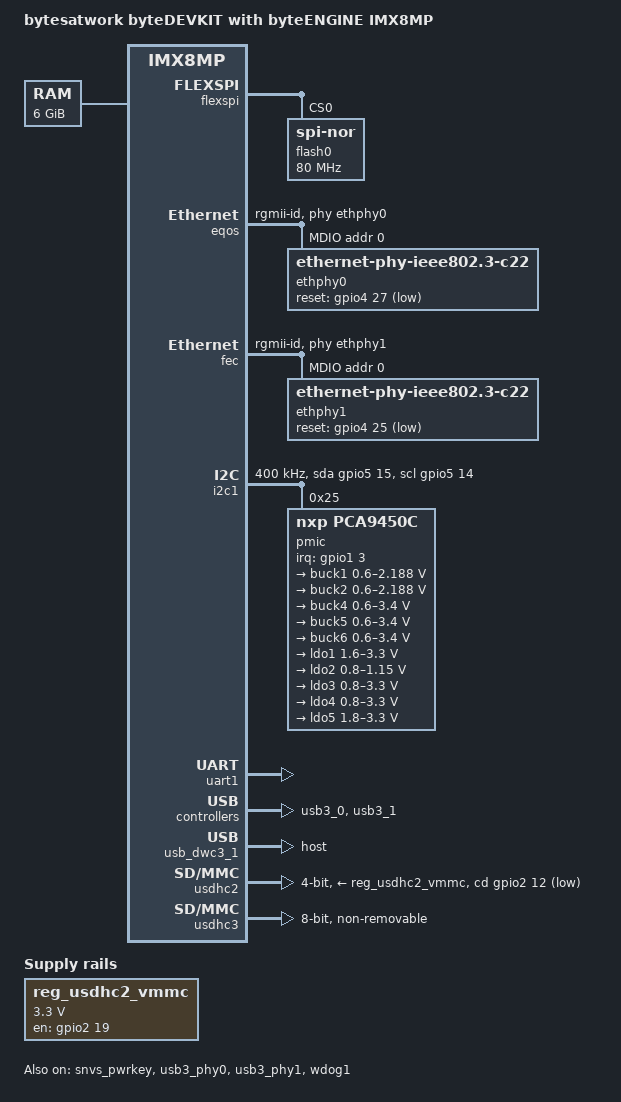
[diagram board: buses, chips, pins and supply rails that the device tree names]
// SPDX-License-Identifier: (GPL-2.0+ OR MIT)
/*
 * Copyright (C) 2024 bytesatwork AG - https://www.bytesatwork.io
 *
 * Based on arch/arm/dts/imx8mp-evk.dts
 * Copyright 2019 NXP
 *
 */

/dts-v1/;

#include <dt-bindings/net/ti-dp83867.h>
#include <dt-bindings/usb/pd.h>
#include "imx8mp.dtsi"

/ {
	model = "bytesatwork byteDEVKIT with byteENGINE IMX8MP";
	compatible = "bytesatwork,bytedevkit-imx8mp", "bytesatwork,byteengine-imx8mp", "fsl,imx8mp";

	chosen {
		bootargs = "console=ttymxc0,115200 earlycon=ec_imx6q,0x30860000,115200";
		stdout-path = &uart1;
	};

	memory@40000000 {
		device_type = "memory";
		reg = <0x0 0x40000000 0 0xc0000000>,
		      <0x1 0x00000000 0 0xc0000000>;
	};

	reg_usdhc2_vmmc: regulator-usdhc2 {
		compatible = "regulator-fixed";
		pinctrl-names = "default";
		pinctrl-0 = <&pinctrl_reg_usdhc2_vmmc>;
		regulator-name = "VSD_3V3";
		regulator-min-microvolt = <3300000>;
		regulator-max-microvolt = <3300000>;
		gpio = <&gpio2 19 GPIO_ACTIVE_HIGH>;
		enable-active-high;
	};
};

&flexspi {
	pinctrl-names = "default";
	pinctrl-0 = <&pinctrl_flexspi0>;
	status = "okay";

	flash0: flash@0 {
		reg = <0>;
		#address-cells = <1>;
		#size-cells = <1>;
		compatible = "jedec,spi-nor";
		spi-max-frequency = <80000000>;
		spi-tx-bus-width = <1>;
		spi-rx-bus-width = <4>;
	};
};

&A53_0 {
	cpu-supply = <&buck2>;
};

&A53_1 {
	cpu-supply = <&buck2>;
};

&A53_2 {
	cpu-supply = <&buck2>;
};

&A53_3 {
	cpu-supply = <&buck2>;
};

&eqos {
	pinctrl-names = "default";
	pinctrl-0 = <&pinctrl_eqos>;
	phy-mode = "rgmii-id";
	phy-handle = <&ethphy0>;
	snps,force_thresh_dma_mode;
	status = "okay";

	mdio {
		compatible = "snps,dwmac-mdio";
		#address-cells = <1>;
		#size-cells = <0>;

		ethphy0: ethernet-phy@0 {
			compatible = "ethernet-phy-ieee802.3-c22";
			reg = <0>;
			eee-broken-1000t;
			reset-gpios = <&gpio4 27 GPIO_ACTIVE_LOW>;
			reset-assert-us = <1000>;
			reset-deassert-us = <1000>;
			ti,rx-internal-delay = <DP83867_RGMIIDCTL_2_25_NS>;
			ti,tx-internal-delay = <DP83867_RGMIIDCTL_2_25_NS>;
			ti,fifo-depth = <DP83867_PHYCR_FIFO_DEPTH_4_B_NIB>;
			ti,clk-output-sel = <DP83867_CLK_O_SEL_OFF>;
		};
	};
};

&fec {
	pinctrl-names = "default";
	pinctrl-0 = <&pinctrl_fec>;
	phy-mode = "rgmii-id";
	phy-handle = <&ethphy1>;
	fsl,magic-packet;
	status = "okay";

	mdio {
		#address-cells = <1>;
		#size-cells = <0>;

		ethphy1: ethernet-phy@0 {
			compatible = "ethernet-phy-ieee802.3-c22";
			reg = <0>;
			eee-broken-1000t;
			reset-gpios = <&gpio4 25 GPIO_ACTIVE_LOW>;
			reset-assert-us = <1000>;
			reset-deassert-us = <1000>;
			ti,rx-internal-delay = <DP83867_RGMIIDCTL_2_25_NS>;
			ti,tx-internal-delay = <DP83867_RGMIIDCTL_2_25_NS>;
			ti,fifo-depth = <DP83867_PHYCR_FIFO_DEPTH_4_B_NIB>;
			ti,clk-output-sel = <DP83867_CLK_O_SEL_OFF>;
		};
	};
};

&i2c1 {
	clock-frequency = <400000>;
	pinctrl-names = "default", "gpio";
	pinctrl-0 = <&pinctrl_i2c1>;
	pinctrl-1 = <&pinctrl_i2c1_gpio>;
	scl-gpios = <&gpio5 14 GPIO_ACTIVE_HIGH>;
	sda-gpios = <&gpio5 15 GPIO_ACTIVE_HIGH>;
	status = "okay";

	pmic@25 {
		compatible = "nxp,pca9450c";
		reg = <0x25>;
		pinctrl-names = "default";
		pinctrl-0 = <&pinctrl_pmic>;
		interrupt-parent = <&gpio1>;
		interrupts = <3 IRQ_TYPE_LEVEL_LOW>;

		regulators {
			buck1: BUCK1 {
				regulator-name = "BUCK1";
				regulator-min-microvolt = <600000>;
				regulator-max-microvolt = <2187500>;
				regulator-boot-on;
				regulator-always-on;
				regulator-ramp-delay = <3125>;
			};

			buck2: BUCK2 {
				regulator-name = "BUCK2";
				regulator-min-microvolt = <600000>;
				regulator-max-microvolt = <2187500>;
				regulator-boot-on;
				regulator-always-on;
				regulator-ramp-delay = <3125>;
				nxp,dvs-run-voltage = <950000>;
				nxp,dvs-standby-voltage = <850000>;
			};

			buck4: BUCK4{
				regulator-name = "BUCK4";
				regulator-min-microvolt = <600000>;
				regulator-max-microvolt = <3400000>;
				regulator-boot-on;
				regulator-always-on;
			};

			buck5: BUCK5{
				regulator-name = "BUCK5";
				regulator-min-microvolt = <600000>;
				regulator-max-microvolt = <3400000>;
				regulator-boot-on;
				regulator-always-on;
			};

			buck6: BUCK6 {
				regulator-name = "BUCK6";
				regulator-min-microvolt = <600000>;
				regulator-max-microvolt = <3400000>;
				regulator-boot-on;
				regulator-always-on;
			};

			ldo1: LDO1 {
				regulator-name = "LDO1";
				regulator-min-microvolt = <1600000>;
				regulator-max-microvolt = <3300000>;
				regulator-boot-on;
				regulator-always-on;
			};

			ldo2: LDO2 {
				regulator-name = "LDO2";
				regulator-min-microvolt = <800000>;
				regulator-max-microvolt = <1150000>;
				regulator-boot-on;
				regulator-always-on;
			};

			ldo3: LDO3 {
				regulator-name = "LDO3";
				regulator-min-microvolt = <800000>;
				regulator-max-microvolt = <3300000>;
				regulator-boot-on;
				regulator-always-on;
			};

			ldo4: LDO4 {
				regulator-name = "LDO4";
				regulator-min-microvolt = <800000>;
				regulator-max-microvolt = <3300000>;
				regulator-boot-on;
				regulator-always-on;
			};

			ldo5: LDO5 {
				regulator-name = "LDO5";
				regulator-min-microvolt = <1800000>;
				regulator-max-microvolt = <3300000>;
				regulator-boot-on;
				regulator-always-on;
			};
		};
	};
};

&snvs_pwrkey {
	status = "okay";
};

&uart1 {
	/* console */
	pinctrl-names = "default";
	pinctrl-0 = <&pinctrl_uart1>;
	status = "okay";
};

&usb3_phy0 {
	fsl,phy-tx-vref-tune = <0xb>;
	fsl,phy-tx-preemp-amp-tune = <3>;
	status = "okay";
};

&usb3_0 {
	status = "okay";
};

&usb_dwc3_0 {
	dr_mode = "peripheral";
	status = "disabled";
};

&usb3_phy1 {
	fsl,phy-tx-preemp-amp-tune = <3>;
	fsl,phy-tx-vref-tune = <0xb>;
	status = "okay";
};

&usb3_1 {
	status = "okay";
};

&usb_dwc3_1 {
	pinctrl-names = "default";
	pinctrl-0 = <&pinctrl_usb1_vbus>;
	dr_mode = "host";
	status = "okay";
};

&usdhc2 {
	assigned-clocks = <&clk IMX8MP_CLK_USDHC2>;
	assigned-clock-rates = <400000000>;
	pinctrl-names = "default", "state_100mhz", "state_200mhz";
	pinctrl-0 = <&pinctrl_usdhc2>, <&pinctrl_usdhc2_gpio>;
	pinctrl-1 = <&pinctrl_usdhc2_100mhz>, <&pinctrl_usdhc2_gpio>;
	pinctrl-2 = <&pinctrl_usdhc2_200mhz>, <&pinctrl_usdhc2_gpio>;
	cd-gpios = <&gpio2 12 GPIO_ACTIVE_LOW>;
	vmmc-supply = <&reg_usdhc2_vmmc>;
	no-1-8-v;
	bus-width = <4>;
	status = "okay";
};

&usdhc3 {
	assigned-clocks = <&clk IMX8MP_CLK_USDHC3>;
	assigned-clock-rates = <400000000>;
	pinctrl-names = "default", "state_100mhz", "state_200mhz";
	pinctrl-0 = <&pinctrl_usdhc3>;
	pinctrl-1 = <&pinctrl_usdhc3_100mhz>;
	pinctrl-2 = <&pinctrl_usdhc3_200mhz>;
	bus-width = <8>;
	non-removable;
	status = "okay";
};

&wdog1 {
	pinctrl-names = "default";
	pinctrl-0 = <&pinctrl_wdog>;
	fsl,ext-reset-output;
	status = "okay";
};

&iomuxc {
	pinctrl_eqos: eqosgrp {
		fsl,pins = <
			MX8MP_IOMUXC_ENET_MDC__ENET_QOS_MDC				0x3
			MX8MP_IOMUXC_ENET_MDIO__ENET_QOS_MDIO				0x3
			MX8MP_IOMUXC_ENET_RD0__ENET_QOS_RGMII_RD0			0x91
			MX8MP_IOMUXC_ENET_RD1__ENET_QOS_RGMII_RD1			0x91
			MX8MP_IOMUXC_ENET_RD2__ENET_QOS_RGMII_RD2			0x91
			MX8MP_IOMUXC_ENET_RD3__ENET_QOS_RGMII_RD3			0x91
			MX8MP_IOMUXC_ENET_RXC__CCM_ENET_QOS_CLOCK_GENERATE_RX_CLK	0x91
			MX8MP_IOMUXC_ENET_RX_CTL__ENET_QOS_RGMII_RX_CTL			0x91
			MX8MP_IOMUXC_ENET_TD0__ENET_QOS_RGMII_TD0			0x16
			MX8MP_IOMUXC_ENET_TD1__ENET_QOS_RGMII_TD1			0x16
			MX8MP_IOMUXC_ENET_TD2__ENET_QOS_RGMII_TD2			0x16
			MX8MP_IOMUXC_ENET_TD3__ENET_QOS_RGMII_TD3			0x16
			MX8MP_IOMUXC_ENET_TX_CTL__ENET_QOS_RGMII_TX_CTL			0x16
			MX8MP_IOMUXC_ENET_TXC__CCM_ENET_QOS_CLOCK_GENERATE_TX_CLK	0x16
			MX8MP_IOMUXC_SAI2_MCLK__GPIO4_IO27				0x16
		>;
	};

	pinctrl_fec: fecgrp {
		fsl,pins = <
			MX8MP_IOMUXC_SAI1_RXD2__ENET1_MDC		0x3
			MX8MP_IOMUXC_SAI1_RXD3__ENET1_MDIO		0x3
			MX8MP_IOMUXC_SAI1_RXD4__ENET1_RGMII_RD0		0x91
			MX8MP_IOMUXC_SAI1_RXD5__ENET1_RGMII_RD1		0x91
			MX8MP_IOMUXC_SAI1_RXD6__ENET1_RGMII_RD2		0x91
			MX8MP_IOMUXC_SAI1_RXD7__ENET1_RGMII_RD3		0x91
			MX8MP_IOMUXC_SAI1_TXC__ENET1_RGMII_RXC		0x91
			MX8MP_IOMUXC_SAI1_TXFS__ENET1_RGMII_RX_CTL	0x91
			MX8MP_IOMUXC_SAI1_TXD0__ENET1_RGMII_TD0		0x1f
			MX8MP_IOMUXC_SAI1_TXD1__ENET1_RGMII_TD1		0x1f
			MX8MP_IOMUXC_SAI1_TXD2__ENET1_RGMII_TD2		0x1f
			MX8MP_IOMUXC_SAI1_TXD3__ENET1_RGMII_TD3		0x1f
			MX8MP_IOMUXC_SAI1_TXD4__ENET1_RGMII_TX_CTL	0x1f
			MX8MP_IOMUXC_SAI1_TXD5__ENET1_RGMII_TXC		0x1f
			MX8MP_IOMUXC_SAI2_TXC__GPIO4_IO25		0x16
		>;
	};

	pinctrl_flexspi0: flexspi0grp {
		fsl,pins = <
			MX8MP_IOMUXC_NAND_ALE__FLEXSPI_A_SCLK		0x1c2
			MX8MP_IOMUXC_NAND_CE0_B__FLEXSPI_A_SS0_B	0x82
			MX8MP_IOMUXC_NAND_DATA00__FLEXSPI_A_DATA00	0x82
			MX8MP_IOMUXC_NAND_DATA01__FLEXSPI_A_DATA01	0x82
			MX8MP_IOMUXC_NAND_DATA02__FLEXSPI_A_DATA02	0x82
			MX8MP_IOMUXC_NAND_DATA03__FLEXSPI_A_DATA03	0x82
		>;
	};

	pinctrl_i2c1: i2c1grp {
		fsl,pins = <
			MX8MP_IOMUXC_I2C1_SCL__I2C1_SCL		0x400001c2
			MX8MP_IOMUXC_I2C1_SDA__I2C1_SDA		0x400001c2
		>;
	};

	pinctrl_mipi_dsi_en: mipidsiengrp {
		fsl,pins = <
			MX8MP_IOMUXC_GPIO1_IO08__GPIO1_IO08	0x16
		>;
	};

	pinctrl_pmic: pmicirqgrp {
		fsl,pins = <
			MX8MP_IOMUXC_GPIO1_IO03__GPIO1_IO03	0x000001c0
		>;
	};

	pinctrl_reg_usdhc2_vmmc: regusdhc2vmmcgrp {
		fsl,pins = <
			MX8MP_IOMUXC_SD2_RESET_B__GPIO2_IO19	0x40
		>;
	};

	pinctrl_i2c1_gpio: i2c1gpiogrp {
		fsl,pins = <
			MX8MP_IOMUXC_I2C1_SCL__GPIO5_IO14	0x1c3
			MX8MP_IOMUXC_I2C1_SDA__GPIO5_IO15	0x1c3
		>;
	};

	pinctrl_uart1: uart1grp {
		fsl,pins = <
			MX8MP_IOMUXC_UART1_RXD__UART1_DCE_RX	0x140
			MX8MP_IOMUXC_UART1_TXD__UART1_DCE_TX	0x140
		>;
	};

	pinctrl_usb1_vbus: usb1grp {
		fsl,pins = <
			MX8MP_IOMUXC_GPIO1_IO14__USB2_PWR	0x10
		>;
	};

	pinctrl_usdhc2: usdhc2grp {
		fsl,pins = <
			MX8MP_IOMUXC_SD2_CLK__USDHC2_CLK	0x190
			MX8MP_IOMUXC_SD2_CMD__USDHC2_CMD	0x1d0
			MX8MP_IOMUXC_SD2_DATA0__USDHC2_DATA0	0x1d0
			MX8MP_IOMUXC_SD2_DATA1__USDHC2_DATA1	0x1d0
			MX8MP_IOMUXC_SD2_DATA2__USDHC2_DATA2	0x1d0
			MX8MP_IOMUXC_SD2_DATA3__USDHC2_DATA3	0x1d0
			MX8MP_IOMUXC_GPIO1_IO04__USDHC2_VSELECT	0xc0
		>;
	};

	pinctrl_usdhc2_100mhz: usdhc2-100mhzgrp {
		fsl,pins = <
			MX8MP_IOMUXC_SD2_CLK__USDHC2_CLK	0x194
			MX8MP_IOMUXC_SD2_CMD__USDHC2_CMD	0x1d4
			MX8MP_IOMUXC_SD2_DATA0__USDHC2_DATA0	0x1d4
			MX8MP_IOMUXC_SD2_DATA1__USDHC2_DATA1	0x1d4
			MX8MP_IOMUXC_SD2_DATA2__USDHC2_DATA2	0x1d4
			MX8MP_IOMUXC_SD2_DATA3__USDHC2_DATA3	0x1d4
			MX8MP_IOMUXC_GPIO1_IO04__USDHC2_VSELECT 0xc0
		>;
	};

	pinctrl_usdhc2_200mhz: usdhc2-200mhzgrp {
		fsl,pins = <
			MX8MP_IOMUXC_SD2_CLK__USDHC2_CLK	0x196
			MX8MP_IOMUXC_SD2_CMD__USDHC2_CMD	0x1d6
			MX8MP_IOMUXC_SD2_DATA0__USDHC2_DATA0	0x1d6
			MX8MP_IOMUXC_SD2_DATA1__USDHC2_DATA1	0x1d6
			MX8MP_IOMUXC_SD2_DATA2__USDHC2_DATA2	0x1d6
			MX8MP_IOMUXC_SD2_DATA3__USDHC2_DATA3	0x1d6
			MX8MP_IOMUXC_GPIO1_IO04__USDHC2_VSELECT 0xc0
		>;
	};

	pinctrl_usdhc2_gpio: usdhc2gpiogrp {
		fsl,pins = <
			MX8MP_IOMUXC_SD2_CD_B__GPIO2_IO12	0x1c4
		>;
	};

	pinctrl_usdhc3: usdhc3grp {
		fsl,pins = <
			MX8MP_IOMUXC_NAND_WE_B__USDHC3_CLK	0x190
			MX8MP_IOMUXC_NAND_WP_B__USDHC3_CMD	0x1d0
			MX8MP_IOMUXC_NAND_DATA04__USDHC3_DATA0	0x1d0
			MX8MP_IOMUXC_NAND_DATA05__USDHC3_DATA1	0x1d0
			MX8MP_IOMUXC_NAND_DATA06__USDHC3_DATA2	0x1d0
			MX8MP_IOMUXC_NAND_DATA07__USDHC3_DATA3	0x1d0
			MX8MP_IOMUXC_NAND_RE_B__USDHC3_DATA4	0x1d0
			MX8MP_IOMUXC_NAND_CE2_B__USDHC3_DATA5	0x1d0
			MX8MP_IOMUXC_NAND_CE3_B__USDHC3_DATA6	0x1d0
			MX8MP_IOMUXC_NAND_CLE__USDHC3_DATA7	0x1d0
			MX8MP_IOMUXC_NAND_CE1_B__USDHC3_STROBE	0x190
		>;
	};

	pinctrl_usdhc3_100mhz: usdhc3-100mhzgrp {
		fsl,pins = <
			MX8MP_IOMUXC_NAND_WE_B__USDHC3_CLK	0x194
			MX8MP_IOMUXC_NAND_WP_B__USDHC3_CMD	0x1d4
			MX8MP_IOMUXC_NAND_DATA04__USDHC3_DATA0	0x1d4
			MX8MP_IOMUXC_NAND_DATA05__USDHC3_DATA1	0x1d4
			MX8MP_IOMUXC_NAND_DATA06__USDHC3_DATA2	0x1d4
			MX8MP_IOMUXC_NAND_DATA07__USDHC3_DATA3	0x1d4
			MX8MP_IOMUXC_NAND_RE_B__USDHC3_DATA4	0x1d4
			MX8MP_IOMUXC_NAND_CE2_B__USDHC3_DATA5	0x1d4
			MX8MP_IOMUXC_NAND_CE3_B__USDHC3_DATA6	0x1d4
			MX8MP_IOMUXC_NAND_CLE__USDHC3_DATA7	0x1d4
			MX8MP_IOMUXC_NAND_CE1_B__USDHC3_STROBE	0x194
		>;
	};

	pinctrl_usdhc3_200mhz: usdhc3-200mhzgrp {
		fsl,pins = <
			MX8MP_IOMUXC_NAND_WE_B__USDHC3_CLK	0x196
			MX8MP_IOMUXC_NAND_WP_B__USDHC3_CMD	0x1d6
			MX8MP_IOMUXC_NAND_DATA04__USDHC3_DATA0	0x1d6
			MX8MP_IOMUXC_NAND_DATA05__USDHC3_DATA1	0x1d6
			MX8MP_IOMUXC_NAND_DATA06__USDHC3_DATA2	0x1d6
			MX8MP_IOMUXC_NAND_DATA07__USDHC3_DATA3	0x1d6
			MX8MP_IOMUXC_NAND_RE_B__USDHC3_DATA4	0x1d6
			MX8MP_IOMUXC_NAND_CE2_B__USDHC3_DATA5	0x1d6
			MX8MP_IOMUXC_NAND_CE3_B__USDHC3_DATA6	0x1d6
			MX8MP_IOMUXC_NAND_CLE__USDHC3_DATA7	0x1d6
			MX8MP_IOMUXC_NAND_CE1_B__USDHC3_STROBE	0x196
		>;
	};

	pinctrl_wdog: wdoggrp {
		fsl,pins = <
			MX8MP_IOMUXC_GPIO1_IO02__WDOG1_WDOG_B	0x166
		>;
	};
};
